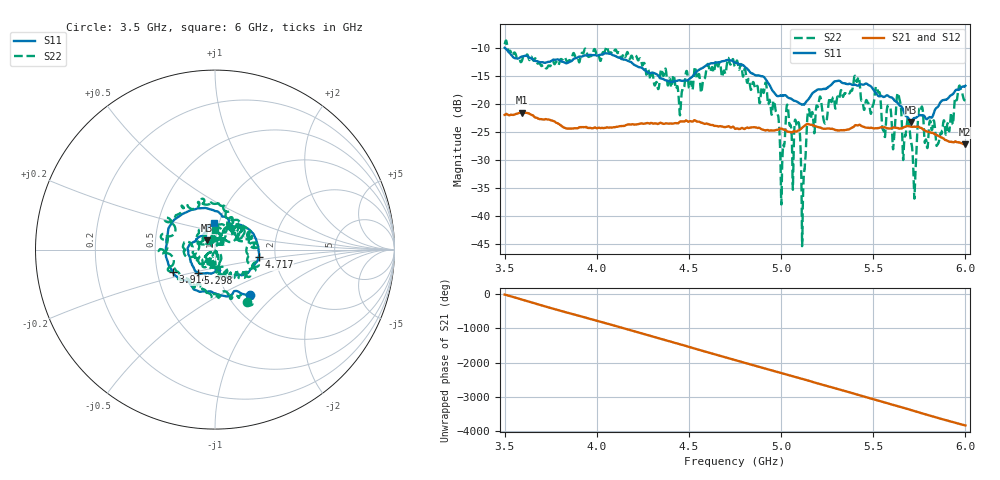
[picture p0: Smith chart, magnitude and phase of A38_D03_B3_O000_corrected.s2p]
! Created with skrf 1.9.0 (http://scikit-rf.org).
# Hz S RI R 50.0
!freq ReS11 ImS11 ReS21 ImS21 ReS12 ImS12 ReS22 ImS22
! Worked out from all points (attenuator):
!   1601 points, 3.5 GHz to 6 GHz, reference 50 ohm
!   highest |S21| = -21.49 dB at 3.592 GHz (marker M1); lowest = -27.2 dB at 5.997 GHz (marker M2)
!   lowest |S11| = -23.2 dB at 5.703 GHz (marker M3), VSWR 1.15, Z = 45.3 + j4.73 ohm
!   |S11| at or under -10 dB: 3.504 GHz to end of sweep
!   |S22| runs from -45.3 to -8.6 dB; largest |S21 - S12| = 0.00095
!   S11 on the Smith chart (normalised r, x): 3.5 GHz: 1.25, -0.71; 3.914 GHz: 0.60, -0.16; 4.717 GHz: 1.64, -0.15; 5.298 GHz: 0.80, -0.21; 6 GHz: 0.95, +0.28
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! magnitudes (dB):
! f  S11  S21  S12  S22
! 3.5 GHz  -9.9  -21.9  -21.9  -9.3
! 3.592 GHz  -11.5  -21.5  -21.5  -12.4
! 3.914 GHz  -11.5  -24.1  -24.1  -11.2
! 3.917 GHz  -11.5  -24.1  -24.1  -10.9
! 4.334 GHz  -15.0  -23.5  -23.4  -17.3
! 4.717 GHz  -12.1  -23.9  -24.0  -12.0
! 4.75 GHz  -12.6  -24.4  -24.3  -13.3
! 4.969 GHz  -18.2  -24.6  -24.6  -20.8
! 5.006 GHz  -18.5  -24.4  -24.4  -30.3
! 5.034 GHz  -18.7  -24.9  -24.8  -20.1
! 5.088 GHz  -19.6  -24.8  -24.8  -23.8
! 5.12 GHz  -20.1  -24.0  -24.0  -34.8
! 5.145 GHz  -19.2  -23.5  -23.5  -21.4
! 5.167 GHz  -18.2  -23.7  -23.7  -21.5
! 5.298 GHz  -15.9  -24.6  -24.6  -20.2
! 5.584 GHz  -18.6  -24.3  -24.3  -20.3
! 5.703 GHz  -23.2  -24.0  -24.0  -26.4
! 5.723 GHz  -22.5  -24.0  -24.0  -36.8
! 5.756 GHz  -22.0  -24.2  -24.1  -21.2
! 5.852 GHz  -20.4  -25.6  -25.6  -27.1
! 5.997 GHz  -16.8  -27.2  -27.1  -19.3
! 6 GHz  -16.7  -27.2  -27.1  -19.4
